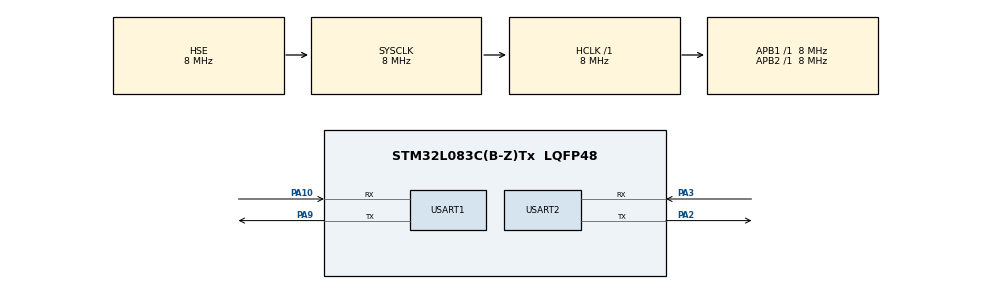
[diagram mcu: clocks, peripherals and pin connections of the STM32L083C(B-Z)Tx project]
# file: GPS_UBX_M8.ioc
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Mcu.Family=STM32L0
Mcu.Name=STM32L083C(B-Z)Tx
Mcu.Package=LQFP48
NVIC.USART1_IRQn=true\:0\:0\:false\:false\:true\:true\:true
PA10.Mode=Asynchronous
PA10.Signal=USART1_RX
PA13.Mode=Serial_Wire
PA13.Signal=SYS_SWDIO
PA14.Mode=Serial_Wire
PA14.Signal=SYS_SWCLK
PA2.Mode=Asynchronous
PA2.Signal=USART2_TX
PA3.Mode=Asynchronous
PA3.Signal=USART2_RX
PA9.Mode=Asynchronous
PA9.Signal=USART1_TX
PH0-OSC_IN.Mode=HSE-External-Oscillator
PH0-OSC_IN.Signal=RCC_OSC_IN
PH1-OSC_OUT.Mode=HSE-External-Oscillator
PH1-OSC_OUT.Signal=RCC_OSC_OUT
ProjectManager.HeapSize=0x200
ProjectManager.StackSize=0x400
ProjectManager.TargetToolchain=TrueSTUDIO
RCC.AHBFreq_Value=8000000
RCC.APB1Freq_Value=8000000
RCC.APB1TimFreq_Value=8000000
RCC.APB2Freq_Value=8000000
RCC.APB2TimFreq_Value=8000000
RCC.HCLKFreq_Value=8000000
RCC.HSE_VALUE=8000000
RCC.HSI16_VALUE=16000000
RCC.HSI48_VALUE=48000000
RCC.HSI_VALUE=16000000
RCC.LSE_VALUE=32768
RCC.MSI_VALUE=2097000
RCC.SYSCLKFreq_VALUE=8000000
RCC.SYSCLKSource=RCC_SYSCLKSOURCE_HSE
RCC.Usart1ClockSelection=RCC_USART1CLKSOURCE_HSI
RCC.Usart2ClockSelection=RCC_USART2CLKSOURCE_HSI
RCC.VCOOutputFreq_Value=48000000
USART1.VirtualMode-Asynchronous=VM_ASYNC
USART2.VirtualMode-Asynchronous=VM_ASYNC
board=custom

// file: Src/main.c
/* USER CODE BEGIN Header */
/**
  ******************************************************************************
  * @file           : main.c
  * @brief          : Main program body
  ******************************************************************************
  * @attention
  *
  * <h2><center>&copy; Copyright (c) 2020 STMicroelectronics.
  * All rights reserved.</center></h2>
  *
  * This software component is licensed by ST under BSD 3-Clause license,
  * the "License"; You may not use this file except in compliance with the
  * License. You may obtain a copy of the License at:
  *                        opensource.org/licenses/BSD-3-Clause
  *
  ******************************************************************************
  */
/* USER CODE END Header */

#include "main.h"
#include"string.h"
#include"stdio.h"
#include"stdlib.h"
#include"stdarg.h"
/* USER CODE BEGIN Includes */

UART_HandleTypeDef huart1;
UART_HandleTypeDef huart2;

void SystemClock_Config(void);
static void MX_GPIO_Init(void);
static void MX_USART1_UART_Init(void);
static void MX_USART2_UART_Init(void);

/* USER CODE BEGIN 0 */

uint8_t cold_start[] = {0xB5, 0x62, 0x06, 0x04 , 0x04, 0x00,  0xFF, 0xB9, 0x02, 0x00, 0xC8, 0x8F};
uint8_t warm_start[] = {0xB5, 0x62, 0x06, 0x04, 0x04, 0x00, 0x01, 0x00, 0x02, 0x00, 0x11, 0x6C};
uint8_t Hot_start[] =  {0xB5, 0x62, 0x06, 0x04, 0x04, 0x00, 0x00, 0x00, 0x02, 0x00, 0x10, 0x68};

uint8_t ubxRate1Hz[]= {0xB5, 0x62,0x06,0x08,0x06,0x00,0xE8,0x03,0x01,0x00,0x01,0x00, 0x01,0x39};
uint8_t ubxRate5Hz[]= {0xB5, 0x62,0x06,0x08,0x06,0x00,200,0x00,0x01,0x00,0x01,0x00,0xDE,0x6A};
uint8_t ubxRate10Hz[]={0xB5, 0x62,0x06,0x08,0x06,0x00,100,0x00,0x01,0x00,0x01,0x00,0x7A,0x12};

uint8_t clrGLL[] = {0xB5 ,0x62 ,0x06 ,0x01 ,0x08 ,0x00 ,0xF0 ,0x01 ,0x00, 0x00 ,0x00 ,0x00 ,0x00 ,0x00 ,0x00 ,0x2A};
uint8_t clrGSV[] = {0xB5 ,0x62 ,0x06 ,0x01 ,0x03 ,0x00 ,0xF0 ,0x03 ,0x00 ,0xFD ,0x15};
uint8_t clrGSA[] = {0xB5 ,0x62 ,0x06 ,0x01 ,0x03 ,0x00 ,0xF0 ,0x02 ,0x00 ,0xFC ,0x13};
uint8_t clrRMC[] = {0xB5 ,0x62 ,0x06 ,0x01 ,0x03 ,0x00 ,0xF0 ,0x04 ,0x00 ,0xFE ,0x17};
uint8_t clrVTG[] = {0xB5 ,0x62 ,0x06 ,0x01 ,0x03 ,0x00 ,0xF0 ,0x05 ,0x00 ,0xFF ,0x19};
uint8_t clrDTM[] = {0xB5 ,0x62 ,0x06 ,0x01 ,0x03 ,0x00 ,0xF0 ,0x0A ,0x00 ,0x04 ,0x23};
uint8_t clrGBS[] = {0xB5 ,0x62 ,0x06 ,0x01 ,0x03 ,0x00 ,0xF0 ,0x09 ,0x00 ,0x03 ,0x21};
uint8_t clrGNS[] = {0xB5 ,0x62 ,0x06 ,0x01 ,0x03 ,0x00 ,0xF0 ,0x0D ,0x00 ,0x07 ,0x29};
uint8_t clrGRS[] = {0xB5 ,0x62 ,0x06 ,0x01 ,0x03 ,0x00 ,0xF0 ,0x06 ,0x00 ,0x00 ,0x1B};
uint8_t clrGST[] = {0xB5 ,0x62 ,0x06 ,0x01 ,0x03 ,0x00 ,0xF0 ,0x07 ,0x00 ,0x01 ,0x1D};
uint8_t clrTHS[] = {0xB5 ,0x62 ,0x06 ,0x01 ,0x03 ,0x00 ,0xF0 ,0x0E ,0x00 ,0x08 ,0x2B};
uint8_t clrVLW[] = {0xB5 ,0x62 ,0x06 ,0x01 ,0x03 ,0x00 ,0xF0 ,0x0F ,0x00 ,0x09 ,0x2D};
uint8_t clrZDA[] = {0xB5 ,0x62 ,0x06 ,0x01 ,0x03 ,0x00 ,0xF0 ,0x08 ,0x00 ,0x02 ,0x1F};

uint8_t ch;
uint8_t str[76];

int32_t degree;
long minutes;
char degreebuff[10];
float timef;
uint32_t time;
uint8_t hour , minute , seconds ;
uint8_t day , year , month ;

long degree, degree1;
float minutes1, minutes2;
int LongDir= 0, LatDir = 0;
float latitude , longitude ;
int32_t latitude_fixed , longitude_fixed ;
float latitude_Degrees , longitude_Degrees ;
float speed , angle ;

void print(char* format , ...)
{
	char str[80];

	va_list args;

	va_start(args , format);

	vsprintf(str , format , args);
	HAL_UART_Transmit(&huart2 , (uint8_t*)str , strlen(str) , HAL_MAX_DELAY);

	va_end(args);
}

void ProcessGPSLine(uint8_t* GPSBuffer)
{

   print("GNGGA Detected!\r\n");

   uint8_t *p = GPSBuffer;

   print(" %s\r\n",p);

   //Time parsing
   	p = strchr(p , ',')+1;
   	timef = atof(p);
   	time = timef;
   	hour = time/10000;
   	minute = (time % 10000)/100 ;
   	seconds = (time % 100);
   	print("hour : min : sec %d: %d: %d\r\n" , hour,minute,seconds);

   	p = strchr(p , ',')+1;

//   	printf("%s\r\n lat str",p);
   		    if (',' != *p)
   		    {
   		      strncpy(degreebuff, p, 2);
   		      p += 2;
   		      degreebuff[2] = '\0';
   		      degree = atol(degreebuff);
//   			print("degree =%d\r\n ",degree);
   		      char data[9];
   		      strncpy(data, p , 8);
//   			print("data = %s\r\n",data);
   		      p=p+8;
//   		      printf("p = %s\r\n",p);
   		      data[8] = '\0';
//   			print("data %s\r\n",data);
   		      minutes1 = atof(data);
//   		      print("minutes = %f\r\n",minutes1);
   		      latitude = (degree + ((float)(minutes1)/60));
   			print("latitude = %f\r\n",latitude);
   		    }

//   		  /*    // Latitude Direction South or North
   		    p = strchr(p , ',')+1;
//   		    printf("parsed str = %s\r\n" , p);
   		 	if(',' != *p)
   		 	{
   		 		LatDir = p[0];

   		 		if(p[0]=='N')
   		 			print("North..\r\n" , p[0]);
   		 		else if(p[0]=='S')
   		 			print("South..\r\n",p[0]);
   		  	}

   		 p = strchr(p , ',')+1;
   		if(',' != *p)
   		{

//   			print("p = %s\r\n",p);
   			strncpy(degreebuff , p ,3);
   															// taking the longitude degree and seconds
   			p += 3;
   			degreebuff[3] = '\0';
//   			print("degreebuff %s\r\n",degreebuff);
   			degree1 = atol(degreebuff);
   			char data1[9];											// Parse the only degree
   			strncpy(data1, p, 8);
   			p = p+6;
   			data1[8] = '\0';
//   			print("data1 %s\r\n",data1);
   			minutes2 = atof(data1);
//   			printf("minutes2 %f\r\n",minutes2);
   			longitude = (degree1 + ((float)(minutes2)/60));							// final longitude coordinates
   			print("longitude %f\r\n",longitude);
   		}
   		p = strchr(p , ',')+1;
//   		printf("parsed string %s\r\n",p);
             if(',' != *p)
             {
            	 LatDir = p[0];

            	 if(p[0]=='E')
            		 print("East..\r\n" , p[0]);
            	 else if(p[0]=='W')
            		 print("West..\r\n",p[0]);
             }
         p = strchr(p , ',')+1;
         p = strchr(p , ',')+1;
         p = strchr(p , ',')+1;
         p = strchr(p , ',')+1;

//   		print("p = %s\r\n",p);
   		if(',' != *p)
        {
         char alti[6];
   		strncpy(alti , p , 5);
   		 printf("altt  %s\r\n",alti);
   			   p = p+6;
   			  alti[5] = '\0';
//   			print("alti %s\r\n",alti);
   			float altitude =atof(alti);
   			print("altitude = %.1f\r\n",altitude);

   			}

}

void GPS_SendCommands()
{
	HAL_UART_Transmit(&huart1,(uint8_t*)Hot_start, sizeof(Hot_start),1000);
	HAL_UART_Transmit(&huart1 ,(uint8_t*)ubxRate1Hz, sizeof(ubxRate1Hz),1000);

	HAL_UART_Transmit(&huart1,(uint8_t*)clrGLL , sizeof(clrGLL),1000);
	HAL_UART_Transmit(&huart1,(uint8_t*)clrGSA , sizeof(clrGSA),1000);
	HAL_UART_Transmit(&huart1,(uint8_t*) clrGSV , sizeof(clrGSV),1000);
	HAL_UART_Transmit(&huart1,(uint8_t*)clrRMC , sizeof(clrRMC),1000);
	HAL_UART_Transmit(&huart1,(uint8_t*)clrVTG , sizeof(clrVTG),1000);
	HAL_UART_Transmit(&huart1,(uint8_t*)clrZDA , sizeof(clrZDA),1000);
	HAL_UART_Transmit(&huart1,(uint8_t*) clrDTM , sizeof(clrDTM),1000);
	HAL_UART_Transmit(&huart1,(uint8_t*)clrGBS, sizeof(clrGBS),1000);
	HAL_UART_Transmit(&huart1,(uint8_t*) clrGNS, sizeof(clrGNS),1000);
	HAL_UART_Transmit(&huart1,(uint8_t*)clrGRS, sizeof(clrGRS),1000);
	HAL_UART_Transmit(&huart1,(uint8_t*) clrGST, sizeof(clrGST),1000);
	HAL_UART_Transmit(&huart1,(uint8_t*)clrTHS, sizeof(clrTHS),1000);
	HAL_UART_Transmit(&huart1,(uint8_t*)clrVLW, sizeof(clrVLW),1000);

}
/* USER CODE END PD */
/* USER CODE END 0 */

int main(void)
{

  /* MCU Configuration--------------------------------------------------------*/

  /* Reset of all peripherals, Initializes the Flash interface and the Systick. */
  HAL_Init();

  /* Configure the system clock */
  SystemClock_Config();

  /* Initialize all configured peripherals */
  MX_GPIO_Init();
  MX_USART1_UART_Init();
  MX_USART2_UART_Init();

   GPS_SendCommands();

  /* USER CODE BEGIN WHILE */
  while (1)
  {
//	  HAL_Delay(15000);
	  	HAL_UART_Receive_IT(&huart1 , (uint8_t*)str , 76 );

    /* USER CODE END WHILE */

  }
}

void SystemClock_Config(void)
{
  RCC_OscInitTypeDef RCC_OscInitStruct = {0};
  RCC_ClkInitTypeDef RCC_ClkInitStruct = {0};
  RCC_PeriphCLKInitTypeDef PeriphClkInit = {0};

  /** Configure the main internal regulator output voltage
  */
  __HAL_PWR_VOLTAGESCALING_CONFIG(PWR_REGULATOR_VOLTAGE_SCALE1);
  /** Initializes the CPU, AHB and APB busses clocks
  */
  RCC_OscInitStruct.OscillatorType = RCC_OSCILLATORTYPE_HSI|RCC_OSCILLATORTYPE_HSE;
  RCC_OscInitStruct.HSEState = RCC_HSE_ON;
  RCC_OscInitStruct.HSIState = RCC_HSI_ON;
  RCC_OscInitStruct.HSICalibrationValue = RCC_HSICALIBRATION_DEFAULT;
  RCC_OscInitStruct.PLL.PLLState = RCC_PLL_NONE;
  if (HAL_RCC_OscConfig(&RCC_OscInitStruct) != HAL_OK)
  {
    Error_Handler();
  }
  /** Initializes the CPU, AHB and APB busses clocks
  */
  RCC_ClkInitStruct.ClockType = RCC_CLOCKTYPE_HCLK|RCC_CLOCKTYPE_SYSCLK
                              |RCC_CLOCKTYPE_PCLK1|RCC_CLOCKTYPE_PCLK2;
  RCC_ClkInitStruct.SYSCLKSource = RCC_SYSCLKSOURCE_HSE;
  RCC_ClkInitStruct.AHBCLKDivider = RCC_SYSCLK_DIV1;
  RCC_ClkInitStruct.APB1CLKDivider = RCC_HCLK_DIV1;
  RCC_ClkInitStruct.APB2CLKDivider = RCC_HCLK_DIV1;

  if (HAL_RCC_ClockConfig(&RCC_ClkInitStruct, FLASH_LATENCY_0) != HAL_OK)
  {
    Error_Handler();
  }
  PeriphClkInit.PeriphClockSelection = RCC_PERIPHCLK_USART1|RCC_PERIPHCLK_USART2;
  PeriphClkInit.Usart1ClockSelection = RCC_USART1CLKSOURCE_HSI;
  PeriphClkInit.Usart2ClockSelection = RCC_USART2CLKSOURCE_HSI;
  if (HAL_RCCEx_PeriphCLKConfig(&PeriphClkInit) != HAL_OK)
  {
    Error_Handler();
  }
}

static void MX_USART1_UART_Init(void)
{

  huart1.Instance = USART1;
  huart1.Init.BaudRate = 9600;
  huart1.Init.WordLength = UART_WORDLENGTH_8B;
  huart1.Init.StopBits = UART_STOPBITS_1;
  huart1.Init.Parity = UART_PARITY_NONE;
  huart1.Init.Mode = UART_MODE_TX_RX;
  huart1.Init.HwFlowCtl = UART_HWCONTROL_NONE;
  huart1.Init.OverSampling = UART_OVERSAMPLING_16;
  huart1.Init.OneBitSampling = UART_ONE_BIT_SAMPLE_DISABLE;
  huart1.AdvancedInit.AdvFeatureInit = UART_ADVFEATURE_NO_INIT;
  if (HAL_UART_Init(&huart1) != HAL_OK)
  {
    Error_Handler();
  }

}

static void MX_USART2_UART_Init(void)
{

  huart2.Instance = USART2;
  huart2.Init.BaudRate = 115200;
  huart2.Init.WordLength = UART_WORDLENGTH_8B;
  huart2.Init.StopBits = UART_STOPBITS_1;
  huart2.Init.Parity = UART_PARITY_NONE;
  huart2.Init.Mode = UART_MODE_TX_RX;
  huart2.Init.HwFlowCtl = UART_HWCONTROL_NONE;
  huart2.Init.OverSampling = UART_OVERSAMPLING_16;
  huart2.Init.OneBitSampling = UART_ONE_BIT_SAMPLE_DISABLE;
  huart2.AdvancedInit.AdvFeatureInit = UART_ADVFEATURE_NO_INIT;
  if (HAL_UART_Init(&huart2) != HAL_OK)
  {
    Error_Handler();
  }

}

static void MX_GPIO_Init(void)
{

  /* GPIO Ports Clock Enable */
  __HAL_RCC_GPIOH_CLK_ENABLE();
  __HAL_RCC_GPIOA_CLK_ENABLE();

}

/* USER CODE BEGIN 4 */
void HAL_UART_RxCpltCallback(UART_HandleTypeDef *huart)
{
	ProcessGPSLine(str);
}
/* USER CODE END 4 */
void Error_Handler(void)
{
}

/************************ (C) COPYRIGHT STMicroelectronics *****END OF FILE****/
